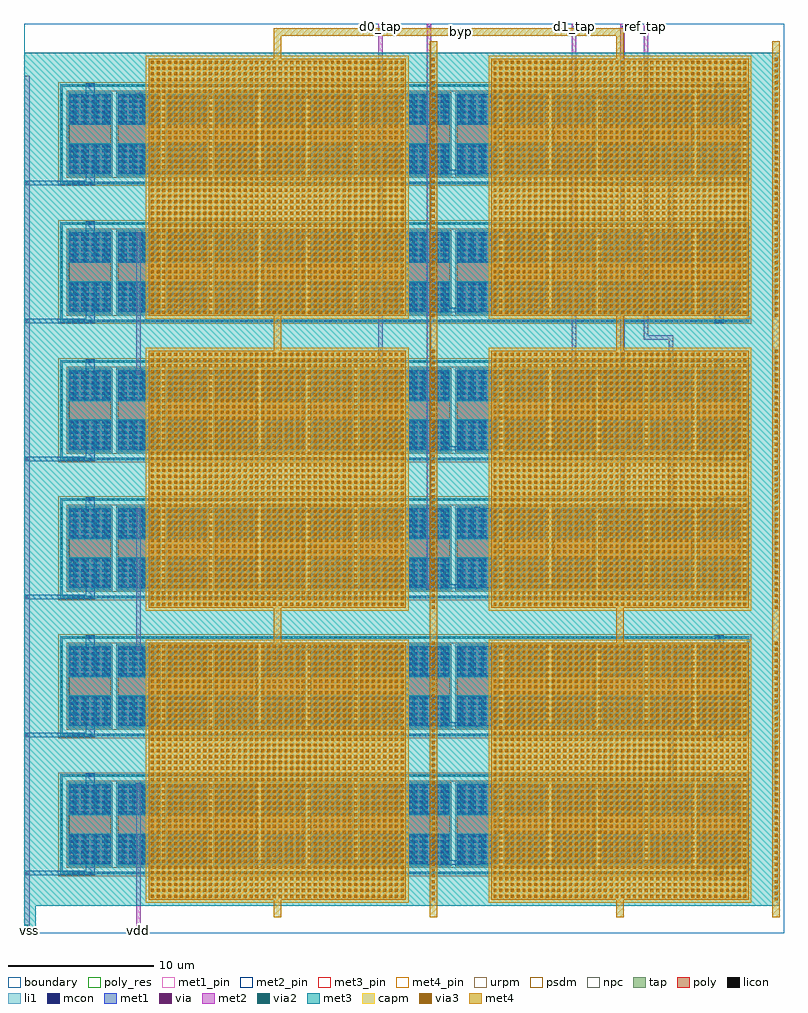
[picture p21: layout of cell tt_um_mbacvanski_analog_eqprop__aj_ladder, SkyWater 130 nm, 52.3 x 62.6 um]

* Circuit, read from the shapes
.subckt tt_um_mbacvanski_analog_eqprop__aj_ladder byp d0_tap d1_tap d2_tap d3_tap ref_tap vdd vss
XC1 byp vss sky130_fd_pr__cap_mim_m3_1 w=18.09 l=18.09 m=6
XR2 vss vss vss sky130_fd_pr__res_xhigh_po w=2.85 l=1.3 m=12
XR3 vdd tt_um_mbacvanski_analog_eqprop__reference_ladder_1/tt_um_mbacvanski_analog_eqprop__ladder_row_0/R2_1 vss sky130_fd_pr__res_xhigh_po w=2.85 l=1.3
XR4 tt_um_mbacvanski_analog_eqprop__reference_ladder_1/tt_um_mbacvanski_analog_eqprop__ladder_row_1/R1_1 tt_um_mbacvanski_analog_eqprop__reference_ladder_1/tt_um_mbacvanski_analog_eqprop__ladder_row_1/R2_1 vss sky130_fd_pr__res_xhigh_po w=2.85 l=1.3
XR5 tt_um_mbacvanski_analog_eqprop__reference_ladder_1/tt_um_mbacvanski_analog_eqprop__ladder_row_1/R1_1 tt_um_mbacvanski_analog_eqprop__reference_ladder_1/tt_um_mbacvanski_analog_eqprop__ladder_row_2/R2_1 vss sky130_fd_pr__res_xhigh_po w=2.85 l=1.3
XR6 tt_um_mbacvanski_analog_eqprop__reference_ladder_1/tt_um_mbacvanski_analog_eqprop__ladder_row_3/R1_1 tt_um_mbacvanski_analog_eqprop__reference_ladder_1/tt_um_mbacvanski_analog_eqprop__ladder_row_4/R2_1 vss sky130_fd_pr__res_xhigh_po w=2.85 l=1.3
XR7 tt_um_mbacvanski_analog_eqprop__reference_ladder_1/tt_um_mbacvanski_analog_eqprop__ladder_row_3/R1_1 tt_um_mbacvanski_analog_eqprop__reference_ladder_1/tt_um_mbacvanski_analog_eqprop__ladder_row_3/R2_1 vss sky130_fd_pr__res_xhigh_po w=2.85 l=1.3
XR8 vss tt_um_mbacvanski_analog_eqprop__reference_ladder_1/tt_um_mbacvanski_analog_eqprop__ladder_row_5/R2_1 vss sky130_fd_pr__res_xhigh_po w=2.85 l=1.3
XR9 tt_um_mbacvanski_analog_eqprop__reference_ladder_1/tt_um_mbacvanski_analog_eqprop__ladder_row_0/R1_2 tt_um_mbacvanski_analog_eqprop__reference_ladder_1/tt_um_mbacvanski_analog_eqprop__ladder_row_0/R2_1 vss sky130_fd_pr__res_xhigh_po w=2.85 l=1.3
XR10 tt_um_mbacvanski_analog_eqprop__reference_ladder_1/tt_um_mbacvanski_analog_eqprop__ladder_row_1/R1_2 tt_um_mbacvanski_analog_eqprop__reference_ladder_1/tt_um_mbacvanski_analog_eqprop__ladder_row_1/R2_1 vss sky130_fd_pr__res_xhigh_po w=2.85 l=1.3
XR11 tt_um_mbacvanski_analog_eqprop__reference_ladder_1/tt_um_mbacvanski_analog_eqprop__ladder_row_2/R1_2 tt_um_mbacvanski_analog_eqprop__reference_ladder_1/tt_um_mbacvanski_analog_eqprop__ladder_row_2/R2_1 vss sky130_fd_pr__res_xhigh_po w=2.85 l=1.3
XR12 tt_um_mbacvanski_analog_eqprop__reference_ladder_1/tt_um_mbacvanski_analog_eqprop__ladder_row_4/R1_2 tt_um_mbacvanski_analog_eqprop__reference_ladder_1/tt_um_mbacvanski_analog_eqprop__ladder_row_4/R2_1 vss sky130_fd_pr__res_xhigh_po w=2.85 l=1.3
XR13 tt_um_mbacvanski_analog_eqprop__reference_ladder_1/tt_um_mbacvanski_analog_eqprop__ladder_row_3/R1_2 tt_um_mbacvanski_analog_eqprop__reference_ladder_1/tt_um_mbacvanski_analog_eqprop__ladder_row_3/R2_1 vss sky130_fd_pr__res_xhigh_po w=2.85 l=1.3
XR14 tt_um_mbacvanski_analog_eqprop__reference_ladder_1/tt_um_mbacvanski_analog_eqprop__ladder_row_5/R1_2 tt_um_mbacvanski_analog_eqprop__reference_ladder_1/tt_um_mbacvanski_analog_eqprop__ladder_row_5/R2_1 vss sky130_fd_pr__res_xhigh_po w=2.85 l=1.3
XR15 tt_um_mbacvanski_analog_eqprop__reference_ladder_1/tt_um_mbacvanski_analog_eqprop__ladder_row_0/R1_2 tt_um_mbacvanski_analog_eqprop__reference_ladder_1/tt_um_mbacvanski_analog_eqprop__ladder_row_0/R2_3 vss sky130_fd_pr__res_xhigh_po w=2.85 l=1.3
XR16 tt_um_mbacvanski_analog_eqprop__reference_ladder_1/tt_um_mbacvanski_analog_eqprop__ladder_row_1/R1_2 tt_um_mbacvanski_analog_eqprop__reference_ladder_1/tt_um_mbacvanski_analog_eqprop__ladder_row_1/R2_3 vss sky130_fd_pr__res_xhigh_po w=2.85 l=1.3
XR17 tt_um_mbacvanski_analog_eqprop__reference_ladder_1/tt_um_mbacvanski_analog_eqprop__ladder_row_2/R1_2 tt_um_mbacvanski_analog_eqprop__reference_ladder_1/tt_um_mbacvanski_analog_eqprop__ladder_row_2/R2_3 vss sky130_fd_pr__res_xhigh_po w=2.85 l=1.3
XR18 tt_um_mbacvanski_analog_eqprop__reference_ladder_1/tt_um_mbacvanski_analog_eqprop__ladder_row_4/R1_2 tt_um_mbacvanski_analog_eqprop__reference_ladder_1/tt_um_mbacvanski_analog_eqprop__ladder_row_4/R2_3 vss sky130_fd_pr__res_xhigh_po w=2.85 l=1.3
XR19 tt_um_mbacvanski_analog_eqprop__reference_ladder_1/tt_um_mbacvanski_analog_eqprop__ladder_row_3/R1_2 tt_um_mbacvanski_analog_eqprop__reference_ladder_1/tt_um_mbacvanski_analog_eqprop__ladder_row_3/R2_3 vss sky130_fd_pr__res_xhigh_po w=2.85 l=1.3
XR20 tt_um_mbacvanski_analog_eqprop__reference_ladder_1/tt_um_mbacvanski_analog_eqprop__ladder_row_5/R1_2 tt_um_mbacvanski_analog_eqprop__reference_ladder_1/tt_um_mbacvanski_analog_eqprop__ladder_row_5/R2_3 vss sky130_fd_pr__res_xhigh_po w=2.85 l=1.3
XR21 tt_um_mbacvanski_analog_eqprop__reference_ladder_1/tt_um_mbacvanski_analog_eqprop__ladder_row_0/R1_4 tt_um_mbacvanski_analog_eqprop__reference_ladder_1/tt_um_mbacvanski_analog_eqprop__ladder_row_0/R2_3 vss sky130_fd_pr__res_xhigh_po w=2.85 l=1.3
XR22 tt_um_mbacvanski_analog_eqprop__reference_ladder_1/tt_um_mbacvanski_analog_eqprop__ladder_row_1/R1_4 tt_um_mbacvanski_analog_eqprop__reference_ladder_1/tt_um_mbacvanski_analog_eqprop__ladder_row_1/R2_3 vss sky130_fd_pr__res_xhigh_po w=2.85 l=1.3
XR23 tt_um_mbacvanski_analog_eqprop__reference_ladder_1/tt_um_mbacvanski_analog_eqprop__ladder_row_2/R1_4 tt_um_mbacvanski_analog_eqprop__reference_ladder_1/tt_um_mbacvanski_analog_eqprop__ladder_row_2/R2_3 vss sky130_fd_pr__res_xhigh_po w=2.85 l=1.3
XR24 tt_um_mbacvanski_analog_eqprop__reference_ladder_1/tt_um_mbacvanski_analog_eqprop__ladder_row_4/R1_4 tt_um_mbacvanski_analog_eqprop__reference_ladder_1/tt_um_mbacvanski_analog_eqprop__ladder_row_4/R2_3 vss sky130_fd_pr__res_xhigh_po w=2.85 l=1.3
XR25 tt_um_mbacvanski_analog_eqprop__reference_ladder_1/tt_um_mbacvanski_analog_eqprop__ladder_row_3/R1_4 tt_um_mbacvanski_analog_eqprop__reference_ladder_1/tt_um_mbacvanski_analog_eqprop__ladder_row_3/R2_3 vss sky130_fd_pr__res_xhigh_po w=2.85 l=1.3
XR26 tt_um_mbacvanski_analog_eqprop__reference_ladder_1/tt_um_mbacvanski_analog_eqprop__ladder_row_5/R1_4 tt_um_mbacvanski_analog_eqprop__reference_ladder_1/tt_um_mbacvanski_analog_eqprop__ladder_row_5/R2_3 vss sky130_fd_pr__res_xhigh_po w=2.85 l=1.3
XR27 tt_um_mbacvanski_analog_eqprop__reference_ladder_1/tt_um_mbacvanski_analog_eqprop__ladder_row_0/R1_4 tt_um_mbacvanski_analog_eqprop__reference_ladder_1/tt_um_mbacvanski_analog_eqprop__ladder_row_0/R2_5 vss sky130_fd_pr__res_xhigh_po w=2.85 l=1.3
XR28 tt_um_mbacvanski_analog_eqprop__reference_ladder_1/tt_um_mbacvanski_analog_eqprop__ladder_row_1/R1_4 tt_um_mbacvanski_analog_eqprop__reference_ladder_1/tt_um_mbacvanski_analog_eqprop__ladder_row_1/R2_5 vss sky130_fd_pr__res_xhigh_po w=2.85 l=1.3
XR29 tt_um_mbacvanski_analog_eqprop__reference_ladder_1/tt_um_mbacvanski_analog_eqprop__ladder_row_2/R1_4 tt_um_mbacvanski_analog_eqprop__reference_ladder_1/tt_um_mbacvanski_analog_eqprop__ladder_row_2/R2_5 vss sky130_fd_pr__res_xhigh_po w=2.85 l=1.3
XR30 tt_um_mbacvanski_analog_eqprop__reference_ladder_1/tt_um_mbacvanski_analog_eqprop__ladder_row_4/R1_4 d0_tap vss sky130_fd_pr__res_xhigh_po w=2.85 l=1.3
XR31 tt_um_mbacvanski_analog_eqprop__reference_ladder_1/tt_um_mbacvanski_analog_eqprop__ladder_row_3/R1_4 tt_um_mbacvanski_analog_eqprop__reference_ladder_1/tt_um_mbacvanski_analog_eqprop__ladder_row_3/R2_5 vss sky130_fd_pr__res_xhigh_po w=2.85 l=1.3
XR32 tt_um_mbacvanski_analog_eqprop__reference_ladder_1/tt_um_mbacvanski_analog_eqprop__ladder_row_5/R1_4 tt_um_mbacvanski_analog_eqprop__reference_ladder_1/tt_um_mbacvanski_analog_eqprop__ladder_row_5/R2_5 vss sky130_fd_pr__res_xhigh_po w=2.85 l=1.3
XR33 tt_um_mbacvanski_analog_eqprop__reference_ladder_1/tt_um_mbacvanski_analog_eqprop__ladder_row_0/R1_6 tt_um_mbacvanski_analog_eqprop__reference_ladder_1/tt_um_mbacvanski_analog_eqprop__ladder_row_0/R2_5 vss sky130_fd_pr__res_xhigh_po w=2.85 l=1.3
XR34 tt_um_mbacvanski_analog_eqprop__reference_ladder_1/tt_um_mbacvanski_analog_eqprop__ladder_row_1/R1_6 tt_um_mbacvanski_analog_eqprop__reference_ladder_1/tt_um_mbacvanski_analog_eqprop__ladder_row_1/R2_5 vss sky130_fd_pr__res_xhigh_po w=2.85 l=1.3
XR35 tt_um_mbacvanski_analog_eqprop__reference_ladder_1/tt_um_mbacvanski_analog_eqprop__ladder_row_2/R1_6 tt_um_mbacvanski_analog_eqprop__reference_ladder_1/tt_um_mbacvanski_analog_eqprop__ladder_row_2/R2_5 vss sky130_fd_pr__res_xhigh_po w=2.85 l=1.3
XR36 tt_um_mbacvanski_analog_eqprop__reference_ladder_1/tt_um_mbacvanski_analog_eqprop__ladder_row_4/R1_6 d0_tap vss sky130_fd_pr__res_xhigh_po w=2.85 l=1.3
XR37 tt_um_mbacvanski_analog_eqprop__reference_ladder_1/tt_um_mbacvanski_analog_eqprop__ladder_row_3/R1_6 tt_um_mbacvanski_analog_eqprop__reference_ladder_1/tt_um_mbacvanski_analog_eqprop__ladder_row_3/R2_5 vss sky130_fd_pr__res_xhigh_po w=2.85 l=1.3
XR38 tt_um_mbacvanski_analog_eqprop__reference_ladder_1/tt_um_mbacvanski_analog_eqprop__ladder_row_5/R1_6 tt_um_mbacvanski_analog_eqprop__reference_ladder_1/tt_um_mbacvanski_analog_eqprop__ladder_row_5/R2_5 vss sky130_fd_pr__res_xhigh_po w=2.85 l=1.3
XR39 tt_um_mbacvanski_analog_eqprop__reference_ladder_1/tt_um_mbacvanski_analog_eqprop__ladder_row_0/R1_6 tt_um_mbacvanski_analog_eqprop__reference_ladder_1/tt_um_mbacvanski_analog_eqprop__ladder_row_0/R2_7 vss sky130_fd_pr__res_xhigh_po w=2.85 l=1.3
XR40 tt_um_mbacvanski_analog_eqprop__reference_ladder_1/tt_um_mbacvanski_analog_eqprop__ladder_row_1/R1_6 tt_um_mbacvanski_analog_eqprop__reference_ladder_1/tt_um_mbacvanski_analog_eqprop__ladder_row_1/R2_7 vss sky130_fd_pr__res_xhigh_po w=2.85 l=1.3
XR41 tt_um_mbacvanski_analog_eqprop__reference_ladder_1/tt_um_mbacvanski_analog_eqprop__ladder_row_2/R1_6 d3_tap vss sky130_fd_pr__res_xhigh_po w=2.85 l=1.3
XR42 tt_um_mbacvanski_analog_eqprop__reference_ladder_1/tt_um_mbacvanski_analog_eqprop__ladder_row_4/R1_6 tt_um_mbacvanski_analog_eqprop__reference_ladder_1/tt_um_mbacvanski_analog_eqprop__ladder_row_4/R2_7 vss sky130_fd_pr__res_xhigh_po w=2.85 l=1.3
XR43 tt_um_mbacvanski_analog_eqprop__reference_ladder_1/tt_um_mbacvanski_analog_eqprop__ladder_row_3/R1_6 tt_um_mbacvanski_analog_eqprop__reference_ladder_1/tt_um_mbacvanski_analog_eqprop__ladder_row_3/R2_7 vss sky130_fd_pr__res_xhigh_po w=2.85 l=1.3
XR44 tt_um_mbacvanski_analog_eqprop__reference_ladder_1/tt_um_mbacvanski_analog_eqprop__ladder_row_5/R1_6 tt_um_mbacvanski_analog_eqprop__reference_ladder_1/tt_um_mbacvanski_analog_eqprop__ladder_row_5/R2_7 vss sky130_fd_pr__res_xhigh_po w=2.85 l=1.3
XR45 tt_um_mbacvanski_analog_eqprop__reference_ladder_1/tt_um_mbacvanski_analog_eqprop__ladder_row_0/R1_8 tt_um_mbacvanski_analog_eqprop__reference_ladder_1/tt_um_mbacvanski_analog_eqprop__ladder_row_0/R2_7 vss sky130_fd_pr__res_xhigh_po w=2.85 l=1.3
XR46 tt_um_mbacvanski_analog_eqprop__reference_ladder_1/tt_um_mbacvanski_analog_eqprop__ladder_row_1/R1_8 tt_um_mbacvanski_analog_eqprop__reference_ladder_1/tt_um_mbacvanski_analog_eqprop__ladder_row_1/R2_7 vss sky130_fd_pr__res_xhigh_po w=2.85 l=1.3
XR47 tt_um_mbacvanski_analog_eqprop__reference_ladder_1/hi_tap d3_tap vss sky130_fd_pr__res_xhigh_po w=2.85 l=1.3
XR48 tt_um_mbacvanski_analog_eqprop__reference_ladder_1/lo_tap tt_um_mbacvanski_analog_eqprop__reference_ladder_1/tt_um_mbacvanski_analog_eqprop__ladder_row_4/R2_7 vss sky130_fd_pr__res_xhigh_po w=2.85 l=1.3
XR49 tt_um_mbacvanski_analog_eqprop__reference_ladder_1/tt_um_mbacvanski_analog_eqprop__ladder_row_3/R1_8 tt_um_mbacvanski_analog_eqprop__reference_ladder_1/tt_um_mbacvanski_analog_eqprop__ladder_row_3/R2_7 vss sky130_fd_pr__res_xhigh_po w=2.85 l=1.3
XR50 tt_um_mbacvanski_analog_eqprop__reference_ladder_1/tt_um_mbacvanski_analog_eqprop__ladder_row_5/R1_8 tt_um_mbacvanski_analog_eqprop__reference_ladder_1/tt_um_mbacvanski_analog_eqprop__ladder_row_5/R2_7 vss sky130_fd_pr__res_xhigh_po w=2.85 l=1.3
XR51 tt_um_mbacvanski_analog_eqprop__reference_ladder_1/tt_um_mbacvanski_analog_eqprop__ladder_row_0/R1_8 tt_um_mbacvanski_analog_eqprop__reference_ladder_1/tt_um_mbacvanski_analog_eqprop__ladder_row_0/R2_10 vss sky130_fd_pr__res_xhigh_po w=2.85 l=1.3
XR52 tt_um_mbacvanski_analog_eqprop__reference_ladder_1/tt_um_mbacvanski_analog_eqprop__ladder_row_1/R1_8 tt_um_mbacvanski_analog_eqprop__reference_ladder_1/tt_um_mbacvanski_analog_eqprop__ladder_row_1/R2_10 vss sky130_fd_pr__res_xhigh_po w=2.85 l=1.3
XR53 tt_um_mbacvanski_analog_eqprop__reference_ladder_1/hi_tap tt_um_mbacvanski_analog_eqprop__reference_ladder_1/tt_um_mbacvanski_analog_eqprop__ladder_row_2/R2_10 vss sky130_fd_pr__res_xhigh_po w=2.85 l=1.3
XR54 tt_um_mbacvanski_analog_eqprop__reference_ladder_1/lo_tap d1_tap vss sky130_fd_pr__res_xhigh_po w=2.85 l=1.3
XR55 tt_um_mbacvanski_analog_eqprop__reference_ladder_1/tt_um_mbacvanski_analog_eqprop__ladder_row_3/R1_8 tt_um_mbacvanski_analog_eqprop__reference_ladder_1/tt_um_mbacvanski_analog_eqprop__ladder_row_3/R2_10 vss sky130_fd_pr__res_xhigh_po w=2.85 l=1.3
XR56 tt_um_mbacvanski_analog_eqprop__reference_ladder_1/tt_um_mbacvanski_analog_eqprop__ladder_row_5/R1_8 tt_um_mbacvanski_analog_eqprop__reference_ladder_1/tt_um_mbacvanski_analog_eqprop__ladder_row_5/R2_10 vss sky130_fd_pr__res_xhigh_po w=2.85 l=1.3
XR57 tt_um_mbacvanski_analog_eqprop__reference_ladder_1/tt_um_mbacvanski_analog_eqprop__ladder_row_0/R1_10 tt_um_mbacvanski_analog_eqprop__reference_ladder_1/tt_um_mbacvanski_analog_eqprop__ladder_row_0/R2_10 vss sky130_fd_pr__res_xhigh_po w=2.85 l=1.3
XR58 tt_um_mbacvanski_analog_eqprop__reference_ladder_1/tt_um_mbacvanski_analog_eqprop__ladder_row_1/R1_10 tt_um_mbacvanski_analog_eqprop__reference_ladder_1/tt_um_mbacvanski_analog_eqprop__ladder_row_1/R2_10 vss sky130_fd_pr__res_xhigh_po w=2.85 l=1.3
XR59 tt_um_mbacvanski_analog_eqprop__reference_ladder_1/tt_um_mbacvanski_analog_eqprop__ladder_row_2/R1_10 tt_um_mbacvanski_analog_eqprop__reference_ladder_1/tt_um_mbacvanski_analog_eqprop__ladder_row_2/R2_10 vss sky130_fd_pr__res_xhigh_po w=2.85 l=1.3
XR60 tt_um_mbacvanski_analog_eqprop__reference_ladder_1/tt_um_mbacvanski_analog_eqprop__ladder_row_4/R1_10 d1_tap vss sky130_fd_pr__res_xhigh_po w=2.85 l=1.3
XR61 tt_um_mbacvanski_analog_eqprop__reference_ladder_1/tt_um_mbacvanski_analog_eqprop__ladder_row_3/R1_10 tt_um_mbacvanski_analog_eqprop__reference_ladder_1/tt_um_mbacvanski_analog_eqprop__ladder_row_3/R2_10 vss sky130_fd_pr__res_xhigh_po w=2.85 l=1.3
XR62 tt_um_mbacvanski_analog_eqprop__reference_ladder_1/tt_um_mbacvanski_analog_eqprop__ladder_row_5/R1_10 tt_um_mbacvanski_analog_eqprop__reference_ladder_1/tt_um_mbacvanski_analog_eqprop__ladder_row_5/R2_10 vss sky130_fd_pr__res_xhigh_po w=2.85 l=1.3
XR63 tt_um_mbacvanski_analog_eqprop__reference_ladder_1/tt_um_mbacvanski_analog_eqprop__ladder_row_0/R1_10 tt_um_mbacvanski_analog_eqprop__reference_ladder_1/tt_um_mbacvanski_analog_eqprop__ladder_row_0/R2_11 vss sky130_fd_pr__res_xhigh_po w=2.85 l=1.3
XR64 tt_um_mbacvanski_analog_eqprop__reference_ladder_1/tt_um_mbacvanski_analog_eqprop__ladder_row_1/R1_10 tt_um_mbacvanski_analog_eqprop__reference_ladder_1/tt_um_mbacvanski_analog_eqprop__ladder_row_1/R2_11 vss sky130_fd_pr__res_xhigh_po w=2.85 l=1.3
XR65 tt_um_mbacvanski_analog_eqprop__reference_ladder_1/tt_um_mbacvanski_analog_eqprop__ladder_row_2/R1_10 d2_tap vss sky130_fd_pr__res_xhigh_po w=2.85 l=1.3
XR66 tt_um_mbacvanski_analog_eqprop__reference_ladder_1/tt_um_mbacvanski_analog_eqprop__ladder_row_4/R1_10 tt_um_mbacvanski_analog_eqprop__reference_ladder_1/tt_um_mbacvanski_analog_eqprop__ladder_row_4/R2_11 vss sky130_fd_pr__res_xhigh_po w=2.85 l=1.3
XR67 tt_um_mbacvanski_analog_eqprop__reference_ladder_1/tt_um_mbacvanski_analog_eqprop__ladder_row_3/R1_10 tt_um_mbacvanski_analog_eqprop__reference_ladder_1/tt_um_mbacvanski_analog_eqprop__ladder_row_3/R2_11 vss sky130_fd_pr__res_xhigh_po w=2.85 l=1.3
XR68 tt_um_mbacvanski_analog_eqprop__reference_ladder_1/tt_um_mbacvanski_analog_eqprop__ladder_row_5/R1_10 tt_um_mbacvanski_analog_eqprop__reference_ladder_1/tt_um_mbacvanski_analog_eqprop__ladder_row_5/R2_11 vss sky130_fd_pr__res_xhigh_po w=2.85 l=1.3
XR69 tt_um_mbacvanski_analog_eqprop__reference_ladder_1/tt_um_mbacvanski_analog_eqprop__ladder_row_0/R1_12 tt_um_mbacvanski_analog_eqprop__reference_ladder_1/tt_um_mbacvanski_analog_eqprop__ladder_row_0/R2_11 vss sky130_fd_pr__res_xhigh_po w=2.85 l=1.3
XR70 tt_um_mbacvanski_analog_eqprop__reference_ladder_1/tt_um_mbacvanski_analog_eqprop__ladder_row_0/R1_12 tt_um_mbacvanski_analog_eqprop__reference_ladder_1/tt_um_mbacvanski_analog_eqprop__ladder_row_1/R2_11 vss sky130_fd_pr__res_xhigh_po w=2.85 l=1.3
XR71 ref_tap d2_tap vss sky130_fd_pr__res_xhigh_po w=2.85 l=1.3
XR72 ref_tap tt_um_mbacvanski_analog_eqprop__reference_ladder_1/tt_um_mbacvanski_analog_eqprop__ladder_row_4/R2_11 vss sky130_fd_pr__res_xhigh_po w=2.85 l=1.3
XR73 tt_um_mbacvanski_analog_eqprop__reference_ladder_1/tt_um_mbacvanski_analog_eqprop__ladder_row_3/R1_12 tt_um_mbacvanski_analog_eqprop__reference_ladder_1/tt_um_mbacvanski_analog_eqprop__ladder_row_3/R2_11 vss sky130_fd_pr__res_xhigh_po w=2.85 l=1.3
XR74 tt_um_mbacvanski_analog_eqprop__reference_ladder_1/tt_um_mbacvanski_analog_eqprop__ladder_row_3/R1_12 tt_um_mbacvanski_analog_eqprop__reference_ladder_1/tt_um_mbacvanski_analog_eqprop__ladder_row_5/R2_11 vss sky130_fd_pr__res_xhigh_po w=2.85 l=1.3
.ends

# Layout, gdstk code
import gdstk
lib = gdstk.Library(unit=1e-6, precision=1e-09)
def R(c, l, rs):  # rectangles x0, y0, x1, y1
    for r in rs: c.add(gdstk.rectangle(r[:2], r[2:], *l))
def A(c, l, x, y, w, h, nx, ny, dx, dy):  # array of equal rectangles
    R(c, l, [(x+i*dx, y+j*dy, x+i*dx+w, y+j*dy+h) for i in range(nx) for j in range(ny)])
tap = (65, 44)
poly_res = (66, 13)
poly = (66, 20)
licon = (66, 44)
li1 = (67, 20)
mcon = (67, 44)
met1_pin = (68, 16)
met1 = (68, 20)
via = (68, 44)
met2_pin = (69, 16)
met2 = (69, 20)
via2 = (69, 44)
met3_pin = (70, 16)
met3 = (70, 20)
via3 = (70, 44)
met4_pin = (71, 16)
met4 = (71, 20)
urpm = (79, 20)
capm = (89, 44)
psdm = (94, 20)
npc = (95, 20)
boundary = (235, 4)

tt_um_mbacvanski_analog_ = lib.new_cell('tt_um_mbacvanski_analog_eqprop__c2_cbyp')
A(tt_um_mbacvanski_analog_, met3, -21.915, -29.335, 20.25, 18.49, 1, 3, 0, 20.09)
A(tt_um_mbacvanski_analog_, met3, 1.665, -29.335, 20.25, 18.49, 1, 3, 0, 20.09)
A(tt_um_mbacvanski_analog_, via3, -2.025, -28.99, 0.2, 0.2, 1, 45, 0, 0.4)
A(tt_um_mbacvanski_analog_, via3, 21.555, -28.99, 0.2, 0.2, 1, 45, 0, 0.4)
A(tt_um_mbacvanski_analog_, via3, -21.37, -28.79, 0.2, 0.2, 44, 44, 0.4, 0.4)
A(tt_um_mbacvanski_analog_, via3, 2.21, -28.79, 0.2, 0.2, 44, 44, 0.4, 0.4)
A(tt_um_mbacvanski_analog_, via3, -2.025, -8.9, 0.2, 0.2, 1, 45, 0, 0.4)
A(tt_um_mbacvanski_analog_, via3, 21.555, -8.9, 0.2, 0.2, 1, 45, 0, 0.4)
A(tt_um_mbacvanski_analog_, via3, -21.37, -8.7, 0.2, 0.2, 44, 44, 0.4, 0.4)
A(tt_um_mbacvanski_analog_, via3, 2.21, -8.7, 0.2, 0.2, 44, 44, 0.4, 0.4)
A(tt_um_mbacvanski_analog_, via3, -2.025, 11.19, 0.2, 0.2, 1, 45, 0, 0.4)
A(tt_um_mbacvanski_analog_, via3, 21.555, 11.19, 0.2, 0.2, 1, 45, 0, 0.4)
A(tt_um_mbacvanski_analog_, via3, -21.37, 11.39, 0.2, 0.2, 44, 44, 0.4, 0.4)
A(tt_um_mbacvanski_analog_, via3, 2.21, 11.39, 0.2, 0.2, 44, 44, 0.4, 0.4)
A(tt_um_mbacvanski_analog_, met4, -21.52, -28.94, 17.7, 17.7, 1, 3, 0, 20.09)
A(tt_um_mbacvanski_analog_, met4, 2.06, -28.94, 17.7, 17.7, 1, 3, 0, 20.09)
R(tt_um_mbacvanski_analog_, met4, [(-12.93,-30.135,-12.41,-28.94), (-2.185,-30.135,-1.665,30.135), (10.65,-30.135,11.17,-28.94), (21.395,-30.135,21.915,30.135), (-12.93,-11.24,-12.41,-8.85), (10.65,-11.24,11.17,-8.85), (-12.93,8.85,-12.41,11.24), (10.65,8.85,11.17,11.24), (-12.93,28.94,-12.41,30.135), (10.65,28.94,11.17,30.135)])
A(tt_um_mbacvanski_analog_, capm, -21.715, -29.135, 18.09, 18.09, 1, 3, 0, 20.09)
A(tt_um_mbacvanski_analog_, capm, 1.865, -29.135, 18.09, 18.09, 1, 3, 0, 20.09)
R(tt_um_mbacvanski_analog_, boundary, [(1.665,10.845,20.155,29.335)])
tt_um_mbacvanski_analog_.add(gdstk.Label('C1_1', (10.91,-20.09), layer=71, texttype=5))
tt_um_mbacvanski_analog_.add(gdstk.Label('C2_1', (21.655,-20.09), layer=71, texttype=5))
tt_um_mbacvanski_analog_.add(gdstk.Label('C1_0', (-12.67,-20.09), layer=71, texttype=5))
tt_um_mbacvanski_analog_.add(gdstk.Label('C2_0', (-1.925,-20.09), layer=71, texttype=5))

c_tt_um_mbacvanski_analog_ = lib.new_cell('tt_um_mbacvanski_analog_eqprop__ladder_row')
R(c_tt_um_mbacvanski_analog_, tap, [(-23.72,-3.44,23.72,-3.27), (-23.72,-3.27,-23.55,3.27), (23.55,-3.27,23.72,3.27), (-23.72,3.27,23.72,3.44)])
A(c_tt_um_mbacvanski_analog_, poly_res, -23.07, -0.71, 2.85, 1.42, 14, 1, 3.33, 0)
A(c_tt_um_mbacvanski_analog_, poly, -23.07, -2.79, 2.85, 5.58, 14, 1, 3.33, 0)
A(c_tt_um_mbacvanski_analog_, licon, -23.205, -3.44, 0.17, 0.17, 137, 2, 0.34, 6.71)
A(c_tt_um_mbacvanski_analog_, licon, -23.72, -2.805, 0.17, 0.17, 1, 17, 0, 0.34)
A(c_tt_um_mbacvanski_analog_, licon, 23.55, -2.805, 0.17, 0.17, 1, 17, 0, 0.34)
A(c_tt_um_mbacvanski_analog_, licon, -22.805, -2.71, 0.19, 2, 4, 2, 0.71, 3.42)
A(c_tt_um_mbacvanski_analog_, licon, -19.475, -2.71, 0.19, 2, 4, 2, 0.71, 3.42)
A(c_tt_um_mbacvanski_analog_, licon, -16.145, -2.71, 0.19, 2, 4, 2, 0.71, 3.42)
A(c_tt_um_mbacvanski_analog_, licon, -12.815, -2.71, 0.19, 2, 4, 2, 0.71, 3.42)
A(c_tt_um_mbacvanski_analog_, licon, -9.485, -2.71, 0.19, 2, 4, 2, 0.71, 3.42)
A(c_tt_um_mbacvanski_analog_, licon, -6.155, -2.71, 0.19, 2, 4, 2, 0.71, 3.42)
A(c_tt_um_mbacvanski_analog_, licon, -2.825, -2.71, 0.19, 2, 4, 2, 0.71, 3.42)
A(c_tt_um_mbacvanski_analog_, licon, 0.505, -2.71, 0.19, 2, 4, 2, 0.71, 3.42)
A(c_tt_um_mbacvanski_analog_, licon, 3.835, -2.71, 0.19, 2, 4, 2, 0.71, 3.42)
A(c_tt_um_mbacvanski_analog_, licon, 7.165, -2.71, 0.19, 2, 4, 2, 0.71, 3.42)
A(c_tt_um_mbacvanski_analog_, licon, 10.495, -2.71, 0.19, 2, 4, 2, 0.71, 3.42)
A(c_tt_um_mbacvanski_analog_, licon, 13.825, -2.71, 0.19, 2, 4, 2, 0.71, 3.42)
A(c_tt_um_mbacvanski_analog_, licon, 17.155, -2.71, 0.19, 2, 4, 2, 0.71, 3.42)
A(c_tt_um_mbacvanski_analog_, licon, 20.485, -2.71, 0.19, 2, 4, 2, 0.71, 3.42)
A(c_tt_um_mbacvanski_analog_, li1, -23.07, -2.79, 2.85, 2.16, 14, 2, 3.33, 3.42)
R(c_tt_um_mbacvanski_analog_, li1, [(-23.72,-3.44,23.72,-3.27), (-23.72,-3.27,-23.55,3.27), (23.55,-3.27,23.72,3.27), (-23.72,3.27,23.72,3.44)])
A(c_tt_um_mbacvanski_analog_, mcon, -22.99, -2.695, 0.17, 0.17, 8, 6, 0.36, 0.36)
A(c_tt_um_mbacvanski_analog_, mcon, -19.66, -2.695, 0.17, 0.17, 8, 6, 0.36, 0.36)
A(c_tt_um_mbacvanski_analog_, mcon, -16.33, -2.695, 0.17, 0.17, 8, 6, 0.36, 0.36)
A(c_tt_um_mbacvanski_analog_, mcon, -13, -2.695, 0.17, 0.17, 8, 6, 0.36, 0.36)
A(c_tt_um_mbacvanski_analog_, mcon, -9.67, -2.695, 0.17, 0.17, 8, 6, 0.36, 0.36)
A(c_tt_um_mbacvanski_analog_, mcon, -6.34, -2.695, 0.17, 0.17, 8, 6, 0.36, 0.36)
A(c_tt_um_mbacvanski_analog_, mcon, -3.01, -2.695, 0.17, 0.17, 8, 6, 0.36, 0.36)
A(c_tt_um_mbacvanski_analog_, mcon, 0.32, -2.695, 0.17, 0.17, 8, 6, 0.36, 0.36)
A(c_tt_um_mbacvanski_analog_, mcon, 3.65, -2.695, 0.17, 0.17, 8, 6, 0.36, 0.36)
A(c_tt_um_mbacvanski_analog_, mcon, 6.98, -2.695, 0.17, 0.17, 8, 6, 0.36, 0.36)
A(c_tt_um_mbacvanski_analog_, mcon, 10.31, -2.695, 0.17, 0.17, 8, 6, 0.36, 0.36)
A(c_tt_um_mbacvanski_analog_, mcon, 13.64, -2.695, 0.17, 0.17, 8, 6, 0.36, 0.36)
A(c_tt_um_mbacvanski_analog_, mcon, 16.97, -2.695, 0.17, 0.17, 8, 6, 0.36, 0.36)
A(c_tt_um_mbacvanski_analog_, mcon, 20.3, -2.695, 0.17, 0.17, 8, 6, 0.36, 0.36)
A(c_tt_um_mbacvanski_analog_, mcon, -22.99, 0.72, 0.17, 0.17, 8, 6, 0.36, 0.36)
A(c_tt_um_mbacvanski_analog_, mcon, -19.66, 0.72, 0.17, 0.17, 8, 6, 0.36, 0.36)
A(c_tt_um_mbacvanski_analog_, mcon, -16.33, 0.72, 0.17, 0.17, 8, 6, 0.36, 0.36)
A(c_tt_um_mbacvanski_analog_, mcon, -13, 0.72, 0.17, 0.17, 8, 6, 0.36, 0.36)
A(c_tt_um_mbacvanski_analog_, mcon, -9.67, 0.72, 0.17, 0.17, 8, 6, 0.36, 0.36)
A(c_tt_um_mbacvanski_analog_, mcon, -6.34, 0.72, 0.17, 0.17, 8, 6, 0.36, 0.36)
A(c_tt_um_mbacvanski_analog_, mcon, -3.01, 0.72, 0.17, 0.17, 8, 6, 0.36, 0.36)
A(c_tt_um_mbacvanski_analog_, mcon, 0.32, 0.72, 0.17, 0.17, 8, 6, 0.36, 0.36)
A(c_tt_um_mbacvanski_analog_, mcon, 3.65, 0.72, 0.17, 0.17, 8, 6, 0.36, 0.36)
A(c_tt_um_mbacvanski_analog_, mcon, 6.98, 0.72, 0.17, 0.17, 8, 6, 0.36, 0.36)
A(c_tt_um_mbacvanski_analog_, mcon, 10.31, 0.72, 0.17, 0.17, 8, 6, 0.36, 0.36)
A(c_tt_um_mbacvanski_analog_, mcon, 13.64, 0.72, 0.17, 0.17, 8, 6, 0.36, 0.36)
A(c_tt_um_mbacvanski_analog_, mcon, 16.97, 0.72, 0.17, 0.17, 8, 6, 0.36, 0.36)
A(c_tt_um_mbacvanski_analog_, mcon, 20.3, 0.72, 0.17, 0.17, 8, 6, 0.36, 0.36)
A(c_tt_um_mbacvanski_analog_, met1, -23.05, -2.73, 2.81, 2.045, 14, 2, 3.33, 3.415)
R(c_tt_um_mbacvanski_analog_, urpm, [(-23.27,-2.99,23.27,2.99)])
R(c_tt_um_mbacvanski_analog_, psdm, [(-23.845,-3.565,23.845,3.565)])
A(c_tt_um_mbacvanski_analog_, npc, -23.165, -2.885, 3.04, 5.77, 14, 1, 3.33, 0)
R(c_tt_um_mbacvanski_analog_, boundary, [(-23.635,-3.355,23.635,3.355)])
c_tt_um_mbacvanski_analog_.add(gdstk.Label('R2_13', (21.645,-2.615), layer=67, texttype=5))
c_tt_um_mbacvanski_analog_.add(gdstk.Label('R2_11', (14.985,-2.615), layer=67, texttype=5))
c_tt_um_mbacvanski_analog_.add(gdstk.Label('R1_10', (11.655,2.615), layer=67, texttype=5))
c_tt_um_mbacvanski_analog_.add(gdstk.Label('R2_9', (8.325,-2.615), layer=67, texttype=5))
c_tt_um_mbacvanski_analog_.add(gdstk.Label('R1_9', (8.325,2.615), layer=67, texttype=5))
c_tt_um_mbacvanski_analog_.add(gdstk.Label('R2_8', (4.995,-2.615), layer=67, texttype=5))
c_tt_um_mbacvanski_analog_.add(gdstk.Label('R1_8', (4.995,2.615), layer=67, texttype=5))
c_tt_um_mbacvanski_analog_.add(gdstk.Label('R1_13', (21.645,2.615), layer=67, texttype=5))
c_tt_um_mbacvanski_analog_.add(gdstk.Label('R2_7', (1.665,-2.615), layer=67, texttype=5))
c_tt_um_mbacvanski_analog_.add(gdstk.Label('R1_7', (1.665,2.615), layer=67, texttype=5))
c_tt_um_mbacvanski_analog_.add(gdstk.Label('R1_11', (14.985,2.615), layer=67, texttype=5))
c_tt_um_mbacvanski_analog_.add(gdstk.Label('R2_6', (-1.665,-2.615), layer=67, texttype=5))
c_tt_um_mbacvanski_analog_.add(gdstk.Label('B', (0,-3.355), layer=67, texttype=5))
c_tt_um_mbacvanski_analog_.add(gdstk.Label('R1_0', (-21.645,2.615), layer=67, texttype=5))
c_tt_um_mbacvanski_analog_.add(gdstk.Label('R1_3', (-11.655,2.615), layer=67, texttype=5))
c_tt_um_mbacvanski_analog_.add(gdstk.Label('R1_1', (-18.315,2.615), layer=67, texttype=5))
c_tt_um_mbacvanski_analog_.add(gdstk.Label('R2_12', (18.315,-2.615), layer=67, texttype=5))
c_tt_um_mbacvanski_analog_.add(gdstk.Label('R2_5', (-4.995,-2.615), layer=67, texttype=5))
c_tt_um_mbacvanski_analog_.add(gdstk.Label('R2_0', (-21.645,-2.615), layer=67, texttype=5))
c_tt_um_mbacvanski_analog_.add(gdstk.Label('R2_1', (-18.315,-2.615), layer=67, texttype=5))
c_tt_um_mbacvanski_analog_.add(gdstk.Label('R1_12', (18.315,2.615), layer=67, texttype=5))
c_tt_um_mbacvanski_analog_.add(gdstk.Label('R2_2', (-14.985,-2.615), layer=67, texttype=5))
c_tt_um_mbacvanski_analog_.add(gdstk.Label('R1_6', (-1.665,2.615), layer=67, texttype=5))
c_tt_um_mbacvanski_analog_.add(gdstk.Label('R2_3', (-11.655,-2.615), layer=67, texttype=5))
c_tt_um_mbacvanski_analog_.add(gdstk.Label('R1_2', (-14.985,2.615), layer=67, texttype=5))
c_tt_um_mbacvanski_analog_.add(gdstk.Label('R2_4', (-8.325,-2.615), layer=67, texttype=5))
c_tt_um_mbacvanski_analog_.add(gdstk.Label('R2_10', (11.655,-2.615), layer=67, texttype=5))
c_tt_um_mbacvanski_analog_.add(gdstk.Label('R1_5', (-4.995,2.615), layer=67, texttype=5))
c_tt_um_mbacvanski_analog_.add(gdstk.Label('R1_4', (-8.325,2.615), layer=67, texttype=5))

c_tt_um_mbacvanski_analog__ = lib.new_cell('tt_um_mbacvanski_analog_eqprop__reference_ladder')
R(c_tt_um_mbacvanski_analog__, li1, [(4.27,2.56,4.44,2.73), (47.56,2.56,47.73,2.73), (4.27,9.27,4.44,9.44), (47.56,9.27,47.73,9.44), (4.27,12.06,4.44,12.23), (47.56,12.06,47.73,12.23), (4.27,18.77,4.44,18.94), (47.56,18.77,47.73,18.94), (4.27,21.56,4.44,21.73), (47.56,21.56,47.73,21.73), (4.27,28.27,4.44,28.44), (47.56,28.27,47.73,28.44), (4.27,31.06,4.44,31.23), (47.56,31.06,47.73,31.23), (4.27,37.77,4.44,37.94), (47.56,37.77,47.73,37.94), (4.27,40.56,4.44,40.73), (47.56,40.56,47.73,40.73), (4.27,47.27,4.44,47.44), (47.56,47.27,47.73,47.44), (4.27,50.06,4.44,50.23), (47.56,50.06,47.73,50.23), (4.27,56.77,4.44,56.94), (47.56,56.77,47.73,56.94)])
R(c_tt_um_mbacvanski_analog__, mcon, [(4.27,2.56,4.44,2.73), (47.56,2.56,47.73,2.73), (4.27,9.27,4.44,9.44), (47.56,9.27,47.73,9.44), (4.27,12.06,4.44,12.23), (47.56,12.06,47.73,12.23), (4.27,18.77,4.44,18.94), (47.56,18.77,47.73,18.94), (4.27,21.56,4.44,21.73), (47.56,21.56,47.73,21.73), (4.27,28.27,4.44,28.44), (47.56,28.27,47.73,28.44), (4.27,31.06,4.44,31.23), (47.56,31.06,47.73,31.23), (4.27,37.77,4.44,37.94), (47.56,37.77,47.73,37.94), (4.27,40.56,4.44,40.73), (47.56,40.56,47.73,40.73), (4.27,47.27,4.44,47.44), (47.56,47.27,47.73,47.44), (4.27,50.06,4.44,50.23), (47.56,50.06,47.73,50.23), (4.27,56.77,4.44,56.94), (47.56,56.77,47.73,56.94)])
R(c_tt_um_mbacvanski_analog__, met1_pin, [(7.635,8.565,7.735,8.665), (27.615,22.335,27.715,22.435), (40.935,22.335,41.035,22.435), (30.945,27.565,31.045,27.665), (24.285,31.835,24.385,31.935), (37.605,31.835,37.705,31.935), (34.275,37.065,34.375,37.165)])
A(c_tt_um_mbacvanski_analog__, met1, -0.2, 2.495, 4.855, 0.3, 1, 6, 0, 9.5)
A(c_tt_um_mbacvanski_analog__, met1, 4.055, 2.795, 0.6, 0.89, 1, 6, 0, 9.5)
A(c_tt_um_mbacvanski_analog__, met1, 7.535, 3.235, 3.63, 0.3, 6, 2, 6.66, 9.5)
A(c_tt_um_mbacvanski_analog__, met1, 4.055, 8.315, 0.6, 1.19, 1, 6, 0, 9.5)
A(c_tt_um_mbacvanski_analog__, met1, 10.865, 8.465, 3.63, 0.3, 5, 2, 6.66, 9.5)
A(c_tt_um_mbacvanski_analog__, met1, 7.505, 17.985, 0.36, 0.26, 1, 5, 0, 9.5)
A(c_tt_um_mbacvanski_analog__, met1, 7.535, 22.235, 3.63, 0.3, 3, 1, 6.66, 0)
A(c_tt_um_mbacvanski_analog__, met1, 10.865, 27.465, 3.63, 0.3, 3, 2, 6.66, 9.5)
A(c_tt_um_mbacvanski_analog__, met1, 14.195, 31.735, 3.63, 0.3, 3, 1, 13.32, 0)
A(c_tt_um_mbacvanski_analog__, met1, 44.135, 36.985, 0.36, 0.26, 1, 3, 0, 9.5)
A(c_tt_um_mbacvanski_analog__, met1, 7.535, 41.235, 3.63, 0.3, 6, 2, 6.66, 9.5)
A(c_tt_um_mbacvanski_analog__, met1, 10.865, 46.465, 3.63, 0.3, 5, 2, 6.66, 9.5)
R(c_tt_um_mbacvanski_analog__, met1, [(47.345,2.495,47.945,3.685), (47.345,8.315,47.945,9.505), (7.485,8.415,7.885,8.815), (44.135,8.485,44.495,8.745), (47.345,11.995,47.945,13.185), (47.345,17.815,47.945,19.005), (44.135,17.985,44.495,18.245), (47.345,21.495,47.945,22.685), (27.465,22.185,27.865,22.235), (40.785,22.185,41.185,22.235), (27.465,22.235,31.145,22.535), (34.175,22.235,37.805,22.535), (40.785,22.235,44.465,22.535), (27.465,22.535,27.865,22.585), (40.785,22.535,41.185,22.585), (47.345,27.315,47.945,28.505), (30.795,27.415,31.195,27.465), (44.115,27.415,44.515,27.815), (30.795,27.465,34.475,27.765), (37.505,27.465,41.135,27.765), (30.795,27.765,31.195,27.815), (47.345,30.995,47.945,32.185), (24.135,31.685,24.535,31.735), (37.455,31.685,37.855,31.735), (7.535,31.735,11.165,32.035), (20.855,31.735,24.535,32.035), (34.175,31.735,37.855,32.035), (24.135,32.035,24.535,32.085), (37.455,32.035,37.855,32.085), (47.345,36.815,47.945,38.005), (34.125,36.915,34.525,36.965), (30.845,36.965,34.525,37.265), (37.505,36.965,41.135,37.265), (34.125,37.265,34.525,37.315), (47.345,40.495,47.945,41.685), (47.345,46.315,47.945,47.505), (47.345,49.995,47.945,51.185), (47.345,55.815,47.945,57.005)])
A(c_tt_um_mbacvanski_analog__, via, -0.075, 2.57, 0.15, 0.15, 1, 6, 0, 9.5)
A(c_tt_um_mbacvanski_analog__, via, 44.24, 8.54, 0.15, 0.15, 1, 6, 0, 9.5)
A(c_tt_um_mbacvanski_analog__, via, 7.61, 18.04, 0.15, 0.15, 1, 5, 0, 9.5)
R(c_tt_um_mbacvanski_analog__, met2_pin, [(44.265,27.565,44.365,27.665)])
A(c_tt_um_mbacvanski_analog__, met2, 44.165, 8.465, 0.3, 9.8, 1, 3, 0, 19)
R(c_tt_um_mbacvanski_analog__, met2, [(-0.2,-1.5,0.2,57.5), (44.185,8.435,44.445,8.465), (7.555,17.935,7.815,17.965), (7.535,17.965,7.835,27.765), (44.185,18.265,44.445,18.295), (44.185,27.435,44.445,27.465), (7.555,27.765,7.815,27.795), (7.555,36.935,7.815,36.965), (7.535,36.965,7.835,46.765), (44.185,37.265,44.445,37.295), (44.185,46.435,44.445,46.465), (7.555,46.765,7.815,46.795), (7.545,55.925,7.825,56.305), (44.185,56.265,44.445,56.295)])
R(c_tt_um_mbacvanski_analog__, via2, [(-0.1,-1.1,0.1,-0.9), (7.585,56.015,7.785,56.215)])
R(c_tt_um_mbacvanski_analog__, met3_pin, [(-0.05,-1.05,0.05,-0.95)])
R(c_tt_um_mbacvanski_analog__, met3, [(-0.19,-1.165,0.19,-1), (-0.2,-1,0.2,55.915), (-0.2,55.915,7.885,56.315)])
c_tt_um_mbacvanski_analog__.add(gdstk.Reference(c_tt_um_mbacvanski_analog_, (26,6)))
c_tt_um_mbacvanski_analog__.add(gdstk.Reference(c_tt_um_mbacvanski_analog_, (26,15.5)))
c_tt_um_mbacvanski_analog__.add(gdstk.Reference(c_tt_um_mbacvanski_analog_, (26,25)))
c_tt_um_mbacvanski_analog__.add(gdstk.Reference(c_tt_um_mbacvanski_analog_, (26,44)))
c_tt_um_mbacvanski_analog__.add(gdstk.Reference(c_tt_um_mbacvanski_analog_, (26,34.5)))
c_tt_um_mbacvanski_analog__.add(gdstk.Reference(c_tt_um_mbacvanski_analog_, (26,53.5)))
c_tt_um_mbacvanski_analog__.add(gdstk.Label('lo_tap', (34.325,37.115), layer=68, texttype=5))
c_tt_um_mbacvanski_analog__.add(gdstk.Label('d1_tap', (37.655,31.885), layer=68, texttype=5))
c_tt_um_mbacvanski_analog__.add(gdstk.Label('d2_tap', (40.985,22.385), layer=68, texttype=5))
c_tt_um_mbacvanski_analog__.add(gdstk.Label('hi_tap', (30.995,27.615), layer=68, texttype=5))
c_tt_um_mbacvanski_analog__.add(gdstk.Label('d3_tap', (27.665,22.385), layer=68, texttype=5))
c_tt_um_mbacvanski_analog__.add(gdstk.Label('d0_tap', (24.335,31.885), layer=68, texttype=5))
c_tt_um_mbacvanski_analog__.add(gdstk.Label('vdd', (7.685,8.615), layer=68, texttype=5))
c_tt_um_mbacvanski_analog__.add(gdstk.Label('ref_tap', (44.315,27.615), layer=69, texttype=5))
c_tt_um_mbacvanski_analog__.add(gdstk.Label('vss', (0,-1), layer=70, texttype=5))

c_tt_um_mbacvanski_analog___ = lib.new_cell('tt_um_mbacvanski_analog_eqprop__aj_ladder')
R(c_tt_um_mbacvanski_analog___, met1, [(7.705,9.985,8.065,10.245), (27.685,23.755,28.045,24.015), (41.005,23.755,41.365,24.015), (24.355,33.255,24.715,33.515), (37.675,33.255,38.035,33.515)])
R(c_tt_um_mbacvanski_analog___, via, [(7.81,10.04,7.96,10.19), (27.79,23.81,27.94,23.96), (41.11,23.81,41.26,23.96), (24.46,33.31,24.61,33.46), (37.78,33.31,37.93,33.46)])
R(c_tt_um_mbacvanski_analog___, met2_pin, [(7.835,0.15,7.935,0.25), (24.485,62.35,24.585,62.45), (27.815,62.35,27.915,62.45), (37.805,62.35,37.905,62.45), (41.135,62.35,41.235,62.45), (42.75,62.35,42.85,62.45)])
R(c_tt_um_mbacvanski_analog___, met2, [(7.735,0,8.035,10.265), (7.755,10.265,8.015,10.295), (27.735,23.705,27.995,23.735), (41.055,23.705,41.315,23.735), (27.715,23.735,28.015,62.6), (41.035,23.735,41.335,62.6), (24.405,33.205,24.665,33.235), (37.725,33.205,37.985,33.235), (24.385,33.235,24.685,62.6), (37.705,33.235,38.005,62.6), (44.365,38.35,44.665,40.85), (42.65,40.85,44.665,41.15), (42.65,41.15,42.95,62.6)])
R(c_tt_um_mbacvanski_analog___, met3_pin, [(0.35,0.15,0.45,0.25)])
R(c_tt_um_mbacvanski_analog___, met3, [(0,0,0.8,1.915), (0,1.915,52.015,60.585)])
R(c_tt_um_mbacvanski_analog___, met4_pin, [(30.05,61.985,30.15,62.085)])
R(c_tt_um_mbacvanski_analog___, met4, [(17.17,60.25,17.69,61.785), (40.75,60.25,41.27,61.785), (17.17,61.785,41.27,62.285)])
R(c_tt_um_mbacvanski_analog___, boundary, [(0,0,52.3,62.6)])
c_tt_um_mbacvanski_analog___.add(gdstk.Reference(tt_um_mbacvanski_analog_, (30.1,31.25)))
c_tt_um_mbacvanski_analog___.add(gdstk.Reference(c_tt_um_mbacvanski_analog__, (0.2,1.5)))
c_tt_um_mbacvanski_analog___.add(gdstk.Label('byp', (30.1,62.035), layer=71, texttype=5))
c_tt_um_mbacvanski_analog___.add(gdstk.Label('d1_tap', (37.855,62.4), layer=69, texttype=5))
c_tt_um_mbacvanski_analog___.add(gdstk.Label('ref_tap', (42.8,62.4), layer=69, texttype=5))
c_tt_um_mbacvanski_analog___.add(gdstk.Label('d2_tap', (41.185,62.4), layer=69, texttype=5))
c_tt_um_mbacvanski_analog___.add(gdstk.Label('d3_tap', (27.865,62.4), layer=69, texttype=5))
c_tt_um_mbacvanski_analog___.add(gdstk.Label('d0_tap', (24.535,62.4), layer=69, texttype=5))
c_tt_um_mbacvanski_analog___.add(gdstk.Label('vdd', (7.885,0.2), layer=69, texttype=5))
c_tt_um_mbacvanski_analog___.add(gdstk.Label('vss', (0.4,0.2), layer=70, texttype=5))

lib.write_gds('tt_um_mbacvanski_analog_eqprop__aj_ladder.gds')
